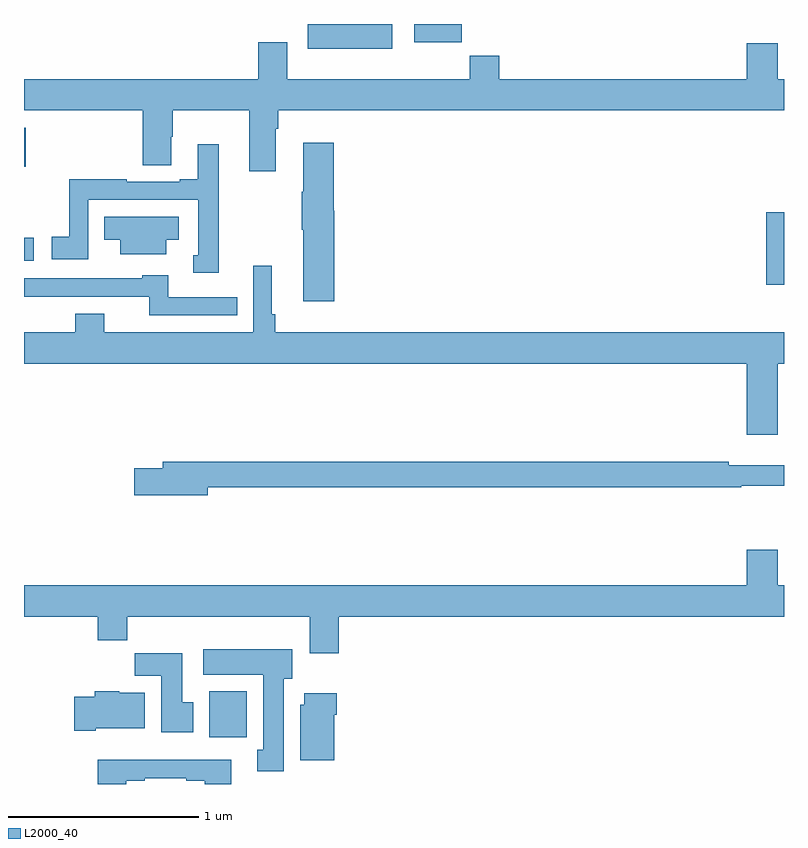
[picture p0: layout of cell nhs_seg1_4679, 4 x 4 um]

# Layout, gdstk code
import gdstk
lib = gdstk.Library(unit=1e-6, precision=1e-09)
def R(c, l, rs):  # rectangles x0, y0, x1, y1
    for r in rs: c.add(gdstk.rectangle(r[:2], r[2:], *l))
def P(c, l, *ps):  # polygons
    for p in ps: c.add(gdstk.Polygon(p, *l))
L2000_40 = (2000, 40)

nhs_seg1_4679 = lib.new_cell('nhs_seg1_4679')
R(nhs_seg1_4679, L2000_40, [(365.975,536.444,366.172,536.686), (368.906,538.827,369,539.208), (365,538.953,365.05,539.073), (365,539.449,365.009,539.652), (366.494,540.068,366.937,540.199), (367.055,540.102,367.304,540.199)])
P(nhs_seg1_4679, L2000_40, [(366.325,539.648),(366.338,539.648),(366.338,539.744),(369,539.744),(369,539.908),(368.968,539.908),(368.968,540.097),(368.804,540.097),(368.804,539.908),(367.502,539.908),(367.502,540.032),(367.345,540.032),(367.345,539.908),(366.385,539.908),(366.385,540.103),(366.233,540.103),(366.233,539.908),(365,539.908),(365,539.744),(365.624,539.744),(365.624,539.455),(365.776,539.455),(365.776,539.606),(365.784,539.606),(365.784,539.744),(366.185,539.744),(366.185,539.424),(366.325,539.424)],
  [(366.634,539.217),(366.629,539.217),(366.629,539.575),(366.47,539.575),(366.47,539.317),(366.463,539.317),(366.463,539.117),(366.47,539.117),(366.47,538.74),(366.634,538.74)],
  [(366.025,539.566),(365.915,539.566),(365.915,539.383),(365.819,539.383),(365.819,539.37),(365.54,539.37),(365.54,539.383),(365.239,539.383),(365.239,539.078),(365.145,539.078),(365.145,538.962),(365.337,538.962),(365.337,539.274),(365.916,539.274),(365.916,538.983),(365.891,538.983),(365.891,538.889),(366.025,538.889)],
  [(365.749,539.063),(365.815,539.063),(365.815,539.185),(365.422,539.185),(365.422,539.063),(365.507,539.063),(365.507,538.988),(365.749,538.988)],
  [(368.968,538.412),(369,538.412),(369,538.576),(366.323,538.576),(366.323,538.672),(366.304,538.672),(366.304,538.927),(366.207,538.927),(366.207,538.576),(365.422,538.576),(365.422,538.675),(365.27,538.675),(365.27,538.576),(365,538.576),(365,538.412),(368.804,538.412),(368.804,538.038),(368.968,538.038)],
  [(366.122,538.761),(365.758,538.761),(365.758,538.876),(365.622,538.876),(365.622,538.86),(365,538.86),(365,538.763),(365.186,538.763),(365.186,538.764),(365.659,538.764),(365.659,538.665),(366.122,538.665)],
  [(365.968,537.76),(368.775,537.76),(368.775,537.768),(369,537.768),(369,537.877),(368.708,537.877),(368.708,537.896),(365.729,537.896),(365.729,537.86),(365.58,537.86),(365.58,537.718),(365.968,537.718)],
  [(366.656,537.08),(369,537.08),(369,537.244),(368.968,537.244),(368.968,537.433),(368.804,537.433),(368.804,537.244),(365,537.244),(365,537.08),(365.387,537.08),(365.387,536.956),(365.543,536.956),(365.543,537.08),(366.503,537.08),(366.503,536.886),(366.656,536.886)],
  [(366.367,536.754),(366.412,536.754),(366.412,536.908),(365.943,536.908),(365.943,536.774),(366.26,536.774),(366.26,536.378),(366.227,536.378),(366.227,536.265),(366.367,536.265)],
  [(365.89,536.628),(365.833,536.628),(365.833,536.887),(365.584,536.887),(365.584,536.768),(365.723,536.768),(365.723,536.472),(365.89,536.472)],
  [(365.377,536.492),(365.635,536.492),(365.635,536.68),(365.502,536.68),(365.502,536.686),(365.372,536.686),(365.372,536.658),(365.265,536.658),(365.265,536.48),(365.377,536.48)],
  [(366.634,536.564),(366.647,536.564),(366.647,536.677),(366.476,536.677),(366.476,536.616),(366.455,536.616),(366.455,536.324),(366.634,536.324)],
  [(365.539,536.217),(365.635,536.217),(365.635,536.229),(365.855,536.229),(365.855,536.217),(365.951,536.217),(365.951,536.199),(366.091,536.199),(366.091,536.326),(365.387,536.326),(365.387,536.199),(365.539,536.199)])

lib.write_gds('nhs_seg1_4679.gds')
